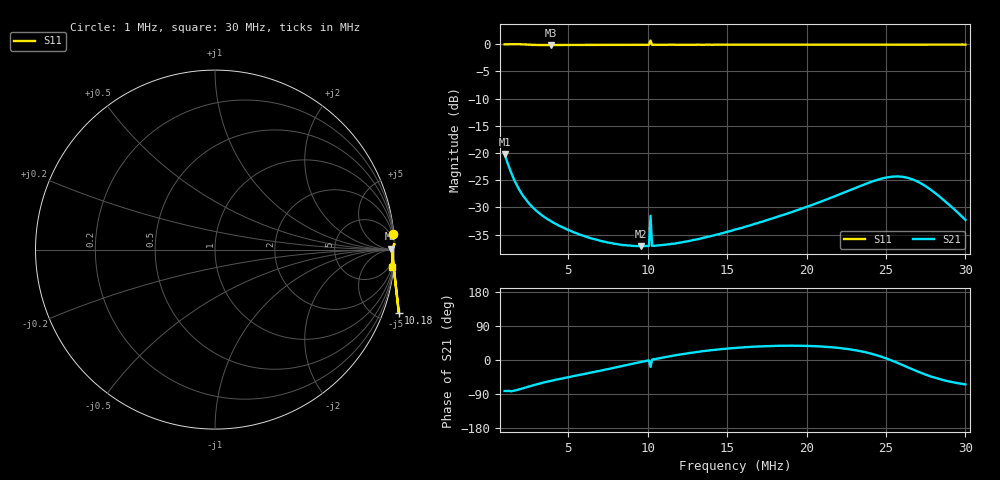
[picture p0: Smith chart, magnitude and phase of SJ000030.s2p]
!File created by NanoVNA-F V2
# Hz S RI R 50
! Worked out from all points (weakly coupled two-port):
!   301 points, 1 MHz to 30 MHz, reference 50 ohm
!   highest |S21| = -20.17 dB at 1 MHz (marker M1); lowest = -37.1 dB at 9.603 MHz (marker M2)
!   lowest |S11| = -0.2 dB at 3.9 MHz (marker M3), VSWR 110.14, Z = 5.03e+03 + j1.54e+03 ohm
!   |S11| at or under -10 dB: nowhere
!   S12 and S22 are empty: the file has one direction only
!   S11 on the Smith chart (normalised r, x): 1 MHz: 0, +22; 10.18 MHz: -1.39, -5.68; 30 MHz: 2, -21
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1000000  0.9941 0.0886  0.0142 -0.097  0 0  0 0
1289998  0.9975 0.0643  0.011 -0.0726  0 0  0 0
1579996  0.9981 0.0467  0.00887 -0.057  0 0  0 0
2159992  0.9954 0.0226  0.0107 -0.0391  0 0  0 0
2933320  0.9852 0.00924  0.0126 -0.0273  0 0  0 0
3899980  0.982 0.00546  0.0135 -0.0195  0 0  0 0
5833300  0.9866 -0.00434  0.0138 -0.011  0 0  0 0
7863286  0.9873 -0.0141  0.0138 -0.00515  0 0  0 0
9603274  0.9862 -0.0207  0.0139 -0.00122  0 0  0 0
1.00866e7  0.9868 -0.0228  0.014 -0.000248  0 0  0 0
1.018327e7  1.024 -0.3505  0.0252 -0.00828  0 0  0 0
1.027994e7  0.9876 -0.0226  0.014 0.000245  0 0  0 0
1.06666e7  0.9874 -0.026  0.0141 0.00101  0 0  0 0
1.259992e7  0.9883 -0.0326  0.0147 0.00485  0 0  0 0
1.54999e7  0.9889 -0.0431  0.0169 0.0104  0 0  0 0
2.03332e7  0.9872 -0.06  0.0266 0.0199  0 0  0 0
2.410317e7  0.9875 -0.0749  0.0524 0.0153  0 0  0 0
2.51665e7  0.9876 -0.0759  0.0601 0.00197  0 0  0 0
2.613316e7  0.9865 -0.0808  0.0581 -0.0155  0 0  0 0
2.719649e7  0.9869 -0.0846  0.0438 -0.0293  0 0  0 0
2.835648e7  0.9889 -0.0874  0.0256 -0.0308  0 0  0 0
2.99998e7  0.9872 -0.0944  0.0105 -0.0219  0 0  0 0
